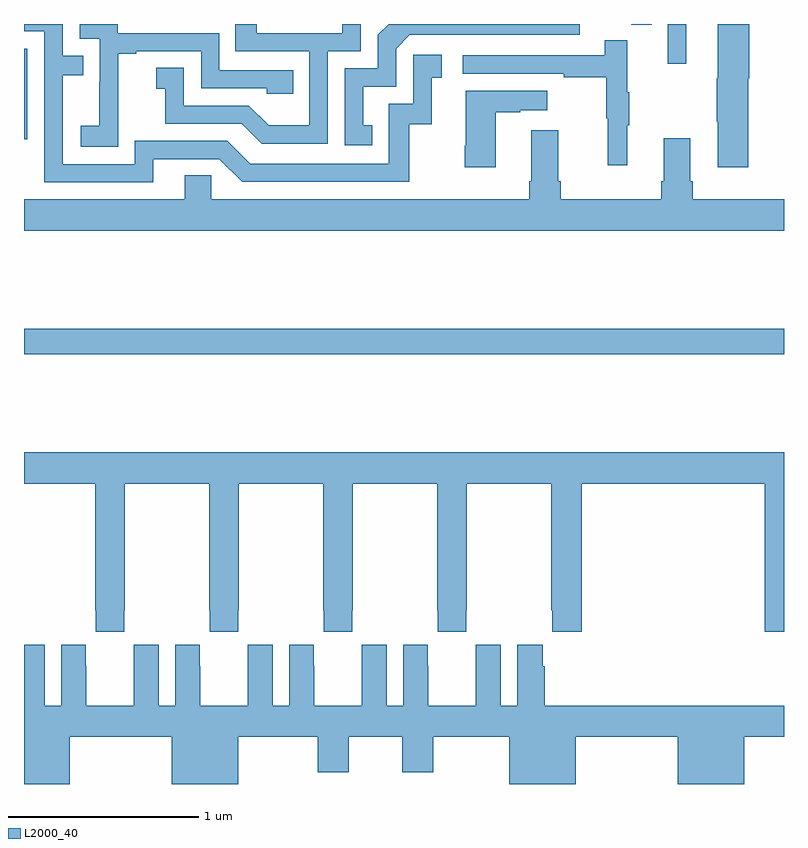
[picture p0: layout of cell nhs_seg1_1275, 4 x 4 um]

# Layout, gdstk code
import gdstk
lib = gdstk.Library(unit=1e-6, precision=1e-09)
def R(c, l, rs):  # rectangles x0, y0, x1, y1
    for r in rs: c.add(gdstk.rectangle(r[:2], r[2:], *l))
def P(c, l, *ps):  # polygons
    for p in ps: c.add(gdstk.Polygon(p, *l))
L2000_40 = (2000, 40)

nhs_seg1_1275 = lib.new_cell('nhs_seg1_1275')
R(nhs_seg1_1275, L2000_40, [(181,504.46,185,504.596), (181,505.593,181.017,506.07), (184.389,505.989,184.486,506.199), (184.196,506.194,184.304,506.199)])
P(nhs_seg1_1275, L2000_40, [(184.811,505.914),(184.816,505.914),(184.816,506.199),(184.652,506.199),(184.652,505.914),(184.645,505.914),(184.645,505.684),(184.652,505.684),(184.652,505.446),(184.811,505.446)],
  [(181.497,505.759),(181.496,505.759),(181.496,506.043),(181.591,506.043),(181.591,506.055),(181.932,506.055),(181.932,505.86),(182.277,505.86),(182.277,505.833),(182.417,505.833),(182.417,505.956),(182.028,505.956),(182.028,506.151),(181.494,506.151),(181.494,506.199),(181.293,506.199),(181.293,506.121),(181.398,506.121),(181.398,505.892),(181.397,505.892),(181.397,505.663),(181.299,505.663),(181.299,505.553),(181.497,505.553)],
  [(182.834,505.665),(182.785,505.665),(182.785,505.869),(182.958,505.869),(182.958,506.07),(183.03,506.142),(183.924,506.142),(183.924,506.199),(182.919,506.199),(182.862,506.142),(182.862,505.965),(182.688,505.965),(182.688,505.56),(182.834,505.56)],
  [(182.598,506.055),(182.772,506.055),(182.772,506.199),(182.675,506.199),(182.675,506.151),(182.224,506.151),(182.224,506.199),(182.113,506.199),(182.113,506.055),(182.502,506.055),(182.502,505.666),(182.288,505.666),(182.184,505.77),(181.842,505.77),(181.842,505.969),(181.695,505.969),(181.695,505.859),(181.744,505.859),(181.744,505.674),(182.147,505.674),(182.252,505.569),(182.598,505.569)],
  [(181.681,505.488),(182.028,505.488),(182.148,505.368),(183.028,505.368),(183.028,505.671),(183.146,505.671),(183.146,505.917),(183.199,505.917),(183.199,506.038),(183.048,506.038),(183.048,505.779),(182.919,505.779),(182.919,505.464),(182.19,505.464),(182.07,505.584),(181.584,505.584),(181.584,505.461),(181.203,505.461),(181.203,505.93),(181.313,505.93),(181.313,506.031),(181.203,506.031),(181.203,506.199),(181,506.199),(181,506.16),(181.107,506.16),(181.107,505.365),(181.681,505.365)],
  [(184.175,505.667),(184.186,505.667),(184.186,505.841),(184.175,505.841),(184.175,506.113),(184.057,506.113),(184.057,506.034),(183.309,506.034),(183.309,505.938),(183.841,505.938),(183.841,505.918),(184.065,505.918),(184.065,505.704),(184.072,505.704),(184.072,505.455),(184.175,505.455)],
  [(183.484,505.735),(183.611,505.735),(183.611,505.745),(183.754,505.745),(183.754,505.849),(183.326,505.849),(183.326,505.558),(183.319,505.558),(183.319,505.446),(183.484,505.446)],
  [(185,505.276),(184.52,505.276),(184.52,505.372),(184.507,505.372),(184.507,505.597),(184.367,505.597),(184.367,505.372),(184.355,505.372),(184.355,505.276),(183.824,505.276),(183.824,505.372),(183.811,505.372),(183.811,505.639),(183.671,505.639),(183.671,505.372),(183.659,505.372),(183.659,505.276),(181.986,505.276),(181.986,505.403),(181.847,505.403),(181.847,505.276),(181,505.276),(181,505.112),(185,505.112)],
  [(181.527,503.113),(181.53,503.113),(181.53,503.78),(181.975,503.78),(181.975,503.113),(181.977,503.113),(181.977,503.001),(182.127,503.001),(182.127,503.113),(182.13,503.113),(182.13,503.78),(182.575,503.78),(182.575,503.113),(182.577,503.113),(182.577,503.001),(182.727,503.001),(182.727,503.113),(182.73,503.113),(182.73,503.78),(183.175,503.78),(183.175,503.113),(183.177,503.113),(183.177,503.001),(183.327,503.001),(183.327,503.113),(183.33,503.113),(183.33,503.78),(183.775,503.78),(183.775,503.113),(183.781,503.113),(183.781,503.001),(183.935,503.001),(183.935,503.78),(184.898,503.78),(184.898,503.001),(185,503.001),(185,503.944),(181,503.944),(181,503.78),(181.375,503.78),(181.375,503.113),(181.377,503.113),(181.377,503.001),(181.527,503.001)],
  [(182.99,502.26),(183.154,502.26),(183.154,502.448),(183.554,502.448),(183.554,502.199),(183.904,502.199),(183.904,502.448),(184.442,502.448),(184.442,502.199),(184.792,502.199),(184.792,502.448),(185,502.448),(185,502.612),(183.74,502.612),(183.74,502.82),(183.73,502.82),(183.73,502.933),(183.596,502.933),(183.596,502.612),(183.508,502.612),(183.508,502.933),(183.378,502.933),(183.378,502.82),(183.377,502.82),(183.377,502.612),(183.127,502.612),(183.127,502.82),(183.126,502.82),(183.126,502.933),(182.996,502.933),(182.996,502.612),(182.908,502.612),(182.908,502.933),(182.778,502.933),(182.778,502.82),(182.777,502.82),(182.777,502.612),(182.527,502.612),(182.527,502.82),(182.526,502.82),(182.526,502.933),(182.396,502.933),(182.396,502.612),(182.308,502.612),(182.308,502.933),(182.178,502.933),(182.178,502.82),(182.177,502.82),(182.177,502.612),(181.927,502.612),(181.927,502.82),(181.926,502.82),(181.926,502.933),(181.796,502.933),(181.796,502.612),(181.708,502.612),(181.708,502.933),(181.578,502.933),(181.578,502.82),(181.577,502.82),(181.577,502.612),(181.327,502.612),(181.327,502.82),(181.326,502.82),(181.326,502.933),(181.196,502.933),(181.196,502.612),(181.108,502.612),(181.108,502.933),(181,502.933),(181,502.199),(181.24,502.199),(181.24,502.448),(181.778,502.448),(181.778,502.199),(182.128,502.199),(182.128,502.448),(182.546,502.448),(182.546,502.26),(182.71,502.26),(182.71,502.448),(182.99,502.448)])

lib.write_gds('nhs_seg1_1275.gds')
